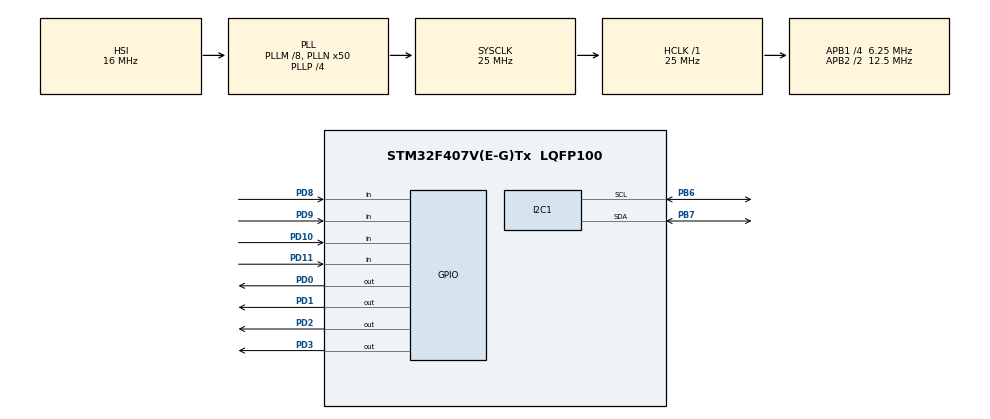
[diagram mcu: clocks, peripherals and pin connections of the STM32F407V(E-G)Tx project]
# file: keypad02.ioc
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Mcu.Family=STM32F4
Mcu.Name=STM32F407V(E-G)Tx
Mcu.Package=LQFP100
NVIC.PriorityGroup=NVIC_PRIORITYGROUP_0
PB6.Mode=I2C
PB6.Signal=I2C1_SCL
PB7.Mode=I2C
PB7.Signal=I2C1_SDA
PD0.Signal=GPIO_Output
PD1.Signal=GPIO_Output
PD10.GPIO_PuPd=GPIO_PULLUP
PD10.Signal=GPIO_Input
PD11.GPIO_PuPd=GPIO_PULLUP
PD11.Signal=GPIO_Input
PD2.Signal=GPIO_Output
PD3.Signal=GPIO_Output
PD8.GPIO_PuPd=GPIO_PULLUP
PD8.Signal=GPIO_Input
PD9.GPIO_PuPd=GPIO_PULLUP
PD9.Signal=GPIO_Input
ProjectManager.HeapSize=0x200
ProjectManager.StackSize=0x400
ProjectManager.TargetToolchain=STM32CubeIDE
RCC.48MHZClocksFreq_Value=14285714.285714285
RCC.AHBFreq_Value=25000000
RCC.APB1CLKDivider=RCC_HCLK_DIV4
RCC.APB1Freq_Value=6250000
RCC.APB1TimFreq_Value=12500000
RCC.APB2CLKDivider=RCC_HCLK_DIV2
RCC.APB2Freq_Value=12500000
RCC.APB2TimFreq_Value=25000000
RCC.CortexFreq_Value=25000000
RCC.HCLKFreq_Value=25000000
RCC.HSE_VALUE=8000000
RCC.HSI_VALUE=16000000
RCC.LSE_VALUE=32768
RCC.PLLM=8
RCC.PLLN=50
RCC.PLLP=RCC_PLLP_DIV4
RCC.PLLQ=7
RCC.SYSCLKFreq_VALUE=25000000
RCC.SYSCLKSource=RCC_SYSCLKSOURCE_PLLCLK
RCC.VCOOutputFreq_Value=100000000
board=STM32F407G-DISC1

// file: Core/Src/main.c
/* USER CODE BEGIN Header */
/**
  ******************************************************************************
  * @file           : main.c
  * @brief          : Main program body
  ******************************************************************************
  * @attention
  *
  * Copyright (c) 2025 STMicroelectronics.
  * All rights reserved.
  *
  * This software is licensed under terms that can be found in the LICENSE file
  * in the root directory of this software component.
  * If no LICENSE file comes with this software, it is provided AS-IS.
  *
  ******************************************************************************
  */
/* USER CODE END Header */
#include "main.h"

/* USER CODE BEGIN Includes */
#include <stdio.h>
#include <stdint.h>
#include <string.h>
#include "lcd16x2_i2c.h"
/* USER CODE END Includes */

I2C_HandleTypeDef hi2c1;

void SystemClock_Config(void);
static void MX_GPIO_Init(void);
static void MX_I2C1_Init(void);

/* USER CODE BEGIN 0 */
//extern void initialise_monitor_handles(void);
int n1 = 0,n2 = 0;
//float n1 = 0,n2 = 0;
int hasN1 = 0;
char op,res[16];
/* USER CODE END 0 */

int main(void)
{

  /* USER CODE BEGIN 1 */
  //initialise_monitor_handles();
  memset(res,0,strlen(res));
  /* USER CODE END 1 */

  /* MCU Configuration--------------------------------------------------------*/

  /* Reset of all peripherals, Initializes the Flash interface and the Systick. */
  HAL_Init();

  /* Configure the system clock */
  SystemClock_Config();

  /* Initialize all configured peripherals */
  MX_GPIO_Init();
  MX_I2C1_Init();
  /* USER CODE BEGIN 2 */
  lcd16x2_i2c_init(&hi2c1);
  lcd16x2_i2c_setCursor(0,0);
  lcd16x2_i2c_printf("STM32 Calci App");
  lcd16x2_i2c_setCursor(1,0);
  /* USER CODE END 2 */

  /* Infinite loop */
  /* USER CODE BEGIN WHILE */
  while (1)
  {
	  // make all rows high
	  HAL_GPIO_WritePin(GPIOD, GPIO_PIN_0|GPIO_PIN_1|GPIO_PIN_2|GPIO_PIN_3, GPIO_PIN_SET);
	  //make R1 LOW(PD0)
	  HAL_GPIO_WritePin(GPIOD, GPIO_PIN_0, GPIO_PIN_RESET);
	  //scan the columns: check C1(PD8)-C4(PD11) low or high
	  if(HAL_GPIO_ReadPin(GPIOD, GPIO_PIN_8) == GPIO_PIN_RESET){
		  HAL_Delay(250);
		  lcd16x2_i2c_printf("1");

		  if(!hasN1){
			  n1 = 1;
			  hasN1 = 1;
		  }
		  else{
			  n2 = 1;
			  hasN1 = 0;
		  }

	  }
	  if(HAL_GPIO_ReadPin(GPIOD, GPIO_PIN_9) == GPIO_PIN_RESET){
		  HAL_Delay(250);
		  lcd16x2_i2c_printf("2");

		  if(!hasN1){
			  n1 = 2;
			  hasN1 = 1;
		  }
		  else{
			  n2 = 2;
			  hasN1 = 0;
		  }
	  }if(HAL_GPIO_ReadPin(GPIOD, GPIO_PIN_10) == GPIO_PIN_RESET){
		  HAL_Delay(250);
		  lcd16x2_i2c_printf("3");

		  if(!hasN1){
			  n1 = 3;
			  hasN1 = 1;
		  }
		  else{
			  n2 = 3;
			  hasN1 = 0;
		  }
	  }if(HAL_GPIO_ReadPin(GPIOD, GPIO_PIN_11) == GPIO_PIN_RESET){		// key: A
		  HAL_Delay(250);
		  lcd16x2_i2c_printf("+");
		  op = '+';
	  }

	  // make all rows high
	  HAL_GPIO_WritePin(GPIOD, GPIO_PIN_0|GPIO_PIN_1|GPIO_PIN_2|GPIO_PIN_3, GPIO_PIN_SET);
	  //make R2 LOW(PD1)
	  HAL_GPIO_WritePin(GPIOD, GPIO_PIN_1, GPIO_PIN_RESET);
	  //scan the columns: check C1(PD8)-C4(PD11) low or high
	  if(HAL_GPIO_ReadPin(GPIOD, GPIO_PIN_8) == GPIO_PIN_RESET){
		  HAL_Delay(250);
		  lcd16x2_i2c_printf("4");

		  if(!hasN1){
			  n1 = 4;
		  	  hasN1 = 1;
		  }
		  else{
		  	  n2 = 4;
		  	  hasN1 = 0;
		  }

	  }
	  if(HAL_GPIO_ReadPin(GPIOD, GPIO_PIN_9) == GPIO_PIN_RESET){
		  HAL_Delay(250);
		  lcd16x2_i2c_printf("5");

		  if(!hasN1){
			  n1 = 5;
			  hasN1 = 1;
		  }
		  else{
			  n2 = 5;
			  hasN1 = 0;
		  }

	  }if(HAL_GPIO_ReadPin(GPIOD, GPIO_PIN_10) == GPIO_PIN_RESET){
		  HAL_Delay(250);
		  lcd16x2_i2c_printf("6");

		  if(!hasN1){
			  n1 = 6;
			  hasN1 = 1;
		   }
		   else{
			   n2 = 6;
			   hasN1 = 0;
		   }
	  }if(HAL_GPIO_ReadPin(GPIOD, GPIO_PIN_11) == GPIO_PIN_RESET){		// key: B
		  HAL_Delay(250);
		  lcd16x2_i2c_printf("-");
		  op = '-';
	  }

	 // make all rows high
	 HAL_GPIO_WritePin(GPIOD, GPIO_PIN_0|GPIO_PIN_1|GPIO_PIN_2|GPIO_PIN_3, GPIO_PIN_SET);
	 //make R3 LOW(PD2)
	 HAL_GPIO_WritePin(GPIOD, GPIO_PIN_2, GPIO_PIN_RESET);
	 //scan the columns: check C1(PD8)-C4(PD11) low or high
	 if(HAL_GPIO_ReadPin(GPIOD, GPIO_PIN_8) == GPIO_PIN_RESET){
		 HAL_Delay(250);
		 lcd16x2_i2c_printf("7");

		 if(!hasN1){
			 n1 = 7;
			 hasN1 = 1;
		 }
		 else{
			 n2 = 7;
			 hasN1 = 0;
		 }
	 }
	 if(HAL_GPIO_ReadPin(GPIOD, GPIO_PIN_9) == GPIO_PIN_RESET){
		 HAL_Delay(250);
		 lcd16x2_i2c_printf("8");

		 if(!hasN1){
			 n1 = 8;
			 hasN1 = 1;
		 }
		 else{
			 n2 = 8;
			 hasN1 = 0;
		 }

	 }if(HAL_GPIO_ReadPin(GPIOD, GPIO_PIN_10) == GPIO_PIN_RESET){
		 HAL_Delay(250);
		 lcd16x2_i2c_printf("9");

		 if(!hasN1){
			 n1 = 9;
			 hasN1 = 1;
		 }
		 else{
			 n2 = 9;
			 hasN1 = 0;
		 }
	 }if(HAL_GPIO_ReadPin(GPIOD, GPIO_PIN_11) == GPIO_PIN_RESET){		// key: C
		 HAL_Delay(250);
		 lcd16x2_i2c_printf("*");
		 op = '*';
	 }

	 // make all rows high
	 HAL_GPIO_WritePin(GPIOD, GPIO_PIN_0|GPIO_PIN_1|GPIO_PIN_2|GPIO_PIN_3, GPIO_PIN_SET);
	 //make R4 LOW(PD3)
	 HAL_GPIO_WritePin(GPIOD, GPIO_PIN_3, GPIO_PIN_RESET);
	 //scan the columns: check C1(PD8)-C4(PD11) low or high
	 if(HAL_GPIO_ReadPin(GPIOD, GPIO_PIN_8) == GPIO_PIN_RESET){         // key: *
		 HAL_Delay(250);
		 lcd16x2_i2c_clear();
		 lcd16x2_i2c_printf("STM32 Calci App");
		 lcd16x2_i2c_setCursor(1,0);
	 }
	 if(HAL_GPIO_ReadPin(GPIOD, GPIO_PIN_9) == GPIO_PIN_RESET){
		 HAL_Delay(250);
		 lcd16x2_i2c_printf("0");

		 if(!hasN1){
			 n1 = 0;
			 hasN1 = 1;
		 }
		 else{
			 n2 = 0;
			 hasN1 = 0;
		 }

	 }if(HAL_GPIO_ReadPin(GPIOD, GPIO_PIN_10) == GPIO_PIN_RESET){ // key: #
		 HAL_Delay(250);
		 lcd16x2_i2c_clear();
		 lcd16x2_i2c_printf("STM32 Calci App");
		 lcd16x2_i2c_setCursor(1,0);
		 //lcd16x2_i2c_printf(" = ");

		 if(op == '+'){
			 memset(res,0,strlen(res));
			 sprintf(res,"%d",n1+n2);
			 //sprintf(res,"%0.2f",n1+n2);
		 }else if(op == '-'){
			 memset(res,0,strlen(res));
			 sprintf(res,"%d",n1-n2);
			 //sprintf(res,"%0.2f",n1-n2);
		 }else if(op == '*'){
			 memset(res,0,strlen(res));
			 sprintf(res,"%d",n1*n2);
			 //sprintf(res,"%f0.2",n1*n2);
		 }else if(op == '/'){
			 if(n2 == 0){
				 memset(res,0,strlen(res));
				 sprintf(res,"err:devide by 0");
			 }
			 else
				 sprintf(res,"%d",n1/n2);
				 //sprintf(res,"0.2%f",n1/n2);
		 }
		 lcd16x2_i2c_printf(res);
		 n1 = n2 = 0;
	 }if(HAL_GPIO_ReadPin(GPIOD, GPIO_PIN_11) == GPIO_PIN_RESET){ 		// key: D
		 HAL_Delay(250);
		 lcd16x2_i2c_printf("/");
		 op = '/';
	 }
    /* USER CODE END WHILE */

  }
}

void SystemClock_Config(void)
{
  RCC_OscInitTypeDef RCC_OscInitStruct = {0};
  RCC_ClkInitTypeDef RCC_ClkInitStruct = {0};

  /** Configure the main internal regulator output voltage
  */
  __HAL_RCC_PWR_CLK_ENABLE();
  __HAL_PWR_VOLTAGESCALING_CONFIG(PWR_REGULATOR_VOLTAGE_SCALE1);

  /** Initializes the RCC Oscillators according to the specified parameters
  * in the RCC_OscInitTypeDef structure.
  */
  RCC_OscInitStruct.OscillatorType = RCC_OSCILLATORTYPE_HSI;
  RCC_OscInitStruct.HSIState = RCC_HSI_ON;
  RCC_OscInitStruct.HSICalibrationValue = RCC_HSICALIBRATION_DEFAULT;
  RCC_OscInitStruct.PLL.PLLState = RCC_PLL_ON;
  RCC_OscInitStruct.PLL.PLLSource = RCC_PLLSOURCE_HSI;
  RCC_OscInitStruct.PLL.PLLM = 8;
  RCC_OscInitStruct.PLL.PLLN = 50;
  RCC_OscInitStruct.PLL.PLLP = RCC_PLLP_DIV4;
  RCC_OscInitStruct.PLL.PLLQ = 7;
  if (HAL_RCC_OscConfig(&RCC_OscInitStruct) != HAL_OK)
  {
    Error_Handler();
  }

  /** Initializes the CPU, AHB and APB buses clocks
  */
  RCC_ClkInitStruct.ClockType = RCC_CLOCKTYPE_HCLK|RCC_CLOCKTYPE_SYSCLK
                              |RCC_CLOCKTYPE_PCLK1|RCC_CLOCKTYPE_PCLK2;
  RCC_ClkInitStruct.SYSCLKSource = RCC_SYSCLKSOURCE_PLLCLK;
  RCC_ClkInitStruct.AHBCLKDivider = RCC_SYSCLK_DIV1;
  RCC_ClkInitStruct.APB1CLKDivider = RCC_HCLK_DIV4;
  RCC_ClkInitStruct.APB2CLKDivider = RCC_HCLK_DIV2;

  if (HAL_RCC_ClockConfig(&RCC_ClkInitStruct, FLASH_LATENCY_0) != HAL_OK)
  {
    Error_Handler();
  }
}

static void MX_I2C1_Init(void)
{

  hi2c1.Instance = I2C1;
  hi2c1.Init.ClockSpeed = 100000;
  hi2c1.Init.DutyCycle = I2C_DUTYCYCLE_2;
  hi2c1.Init.OwnAddress1 = 0;
  hi2c1.Init.AddressingMode = I2C_ADDRESSINGMODE_7BIT;
  hi2c1.Init.DualAddressMode = I2C_DUALADDRESS_DISABLE;
  hi2c1.Init.OwnAddress2 = 0;
  hi2c1.Init.GeneralCallMode = I2C_GENERALCALL_DISABLE;
  hi2c1.Init.NoStretchMode = I2C_NOSTRETCH_DISABLE;
  if (HAL_I2C_Init(&hi2c1) != HAL_OK)
  {
    Error_Handler();
  }

}

static void MX_GPIO_Init(void)
{
  GPIO_InitTypeDef GPIO_InitStruct = {0};

  /* GPIO Ports Clock Enable */
  __HAL_RCC_GPIOD_CLK_ENABLE();
  __HAL_RCC_GPIOB_CLK_ENABLE();

  /*Configure GPIO pin Output Level */
  HAL_GPIO_WritePin(GPIOD, GPIO_PIN_0|GPIO_PIN_1|GPIO_PIN_2|GPIO_PIN_3, GPIO_PIN_RESET);

  /*Configure GPIO pins : PD8 PD9 PD10 PD11 */
  GPIO_InitStruct.Pin = GPIO_PIN_8|GPIO_PIN_9|GPIO_PIN_10|GPIO_PIN_11;
  GPIO_InitStruct.Mode = GPIO_MODE_INPUT;
  GPIO_InitStruct.Pull = GPIO_PULLUP;
  HAL_GPIO_Init(GPIOD, &GPIO_InitStruct);

  /*Configure GPIO pins : PD0 PD1 PD2 PD3 */
  GPIO_InitStruct.Pin = GPIO_PIN_0|GPIO_PIN_1|GPIO_PIN_2|GPIO_PIN_3;
  GPIO_InitStruct.Mode = GPIO_MODE_OUTPUT_PP;
  GPIO_InitStruct.Pull = GPIO_NOPULL;
  GPIO_InitStruct.Speed = GPIO_SPEED_FREQ_LOW;
  HAL_GPIO_Init(GPIOD, &GPIO_InitStruct);

}

void Error_Handler(void)
{
  __disable_irq();
  while (1)
  {
  }
}
